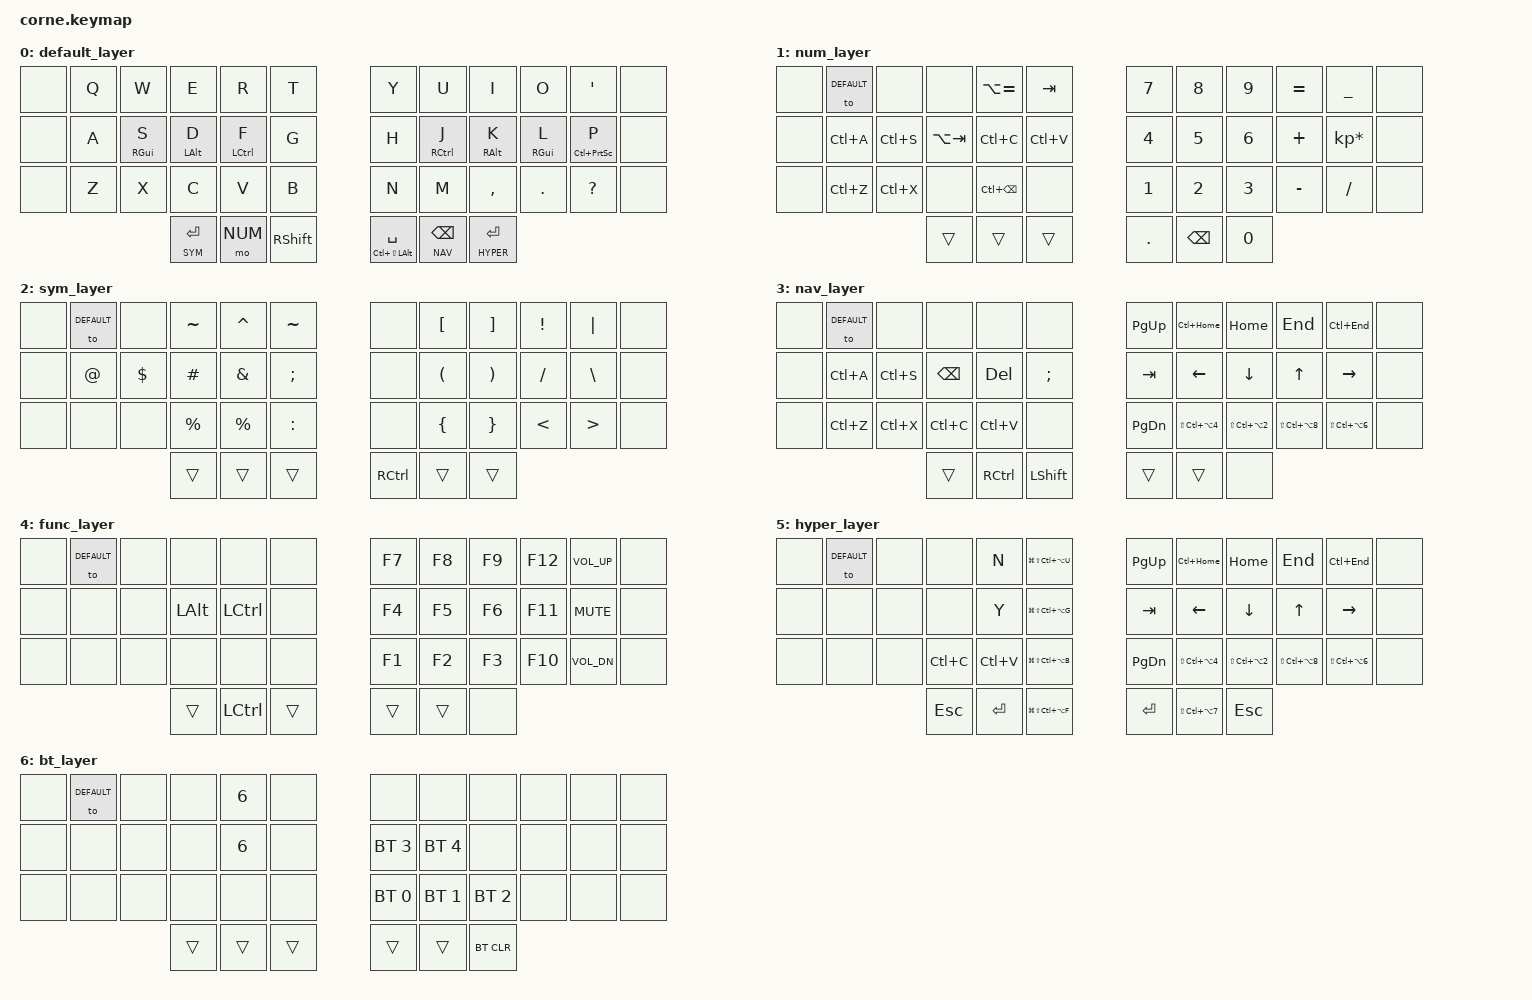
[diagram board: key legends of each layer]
/*
 * Copyright (c) 2020 The ZMK Contributors
 *
 * SPDX-License-Identifier: MIT
 */

// Last update 2025.01.21_1946

//-----------------------------------------------------------------------------------------
// Meh = Ctrl + Shift + Alt
// Windows Meh = Shift + Control + Windows
// Hyper = Shift + Control + Alt + Windows
//-----------------------------------------------------------------------------------------


// ------------------------------------------------------------------------------------------------------------------------------------------------------------------
// wish list
// ------------------------------------------------------------------------------------------------------------------------------------------------------------------
// window switcher via meh key space bar - Alt Tab but need to hold atl?
// add more hyper keys to layer
// &hyper {
//     bindings = <&kp LC(LS(LA(LGUI(SPACE))))>;
// };
// 
// is there a way to define hyper vs having to do all keys like I am now
//

#include <behaviors.dtsi>
#include <dt-bindings/zmk/keys.h>
#include <dt-bindings/zmk/bt.h>

// ------------------------------------------------------------------------------------------------------------------------------------------------------------------
// LAYERS
// ------------------------------------------------------------------------------------------------------------------------------------------------------------------
#define DEFAULT  0
#define NUM      1
#define SYM      2
#define NAV      3
#define FUNC     4
#define HYPER    5
#define BT       6

// ------------------------------------------------------------------------------------------------------------------------------------------------------------------
// Variables
// ------------------------------------------------------------------------------------------------------------------------------------------------------------------
#define COMBO_TIMEOUT 75 

// ------------------------------------------------------------------------------------------------------------------------------------------------------------------
// Mods
// ------------------------------------------------------------------------------------------------------------------------------------------------------------------
/ {
    behaviors {
//hm is homerow modifiers
        hm: homerow_mods {
          compatible = "zmk,behavior-hold-tap";
          label = "HOMEROW_MODS";
          #binding-cells = <2>;
          tapping-term-ms = <500>;
          quick-tap-ms = <0>;
          flavor = "tap-preferred";
          bindings = <&kp>, <&kp>;
        };

//htl momentary layer on hold
    htl: tap_dance_layer {
        compatible = "zmk,behavior-hold-tap";
        label = "HOMEROW_LAYERS_R";
        #binding-cells = <2>;
        tapping-term-ms = <220>;
        quick-tap-ms = <250>;
        flavor = "tap-preferred";
        bindings = <&mo>, <&kp>;
    };

    gqt: global-quick-tap {
        compatible = "zmk,behavior-hold-tap";
        label = "GLOBAL_QUICK_TAP";
        #binding-cells = <2>;
        flavor = "tap-preferred";
        tapping-term-ms = <200>;
        quick-tap-ms = <125>;
        global-quick-tap;
        bindings = <&kp>, <&kp>;
    };

// Hold-Tap for 200mm = 0.2 Sec 
    ht2: hold-tap-200 {
        compatible = "zmk,behavior-hold-tap";
        label = "GLOBAL_QUICK_TAP";
        #binding-cells = <2>;
        flavor = "tap-preferred";
        tapping-term-ms = <200>;
        quick-tap-ms = <125>;
        global-quick-tap;
        bindings = <&kp>, <&kp>;
    };

// Hold-Tap for 300mm = 0.3 Sec 
    ht3: hold-tap-300 {
        compatible = "zmk,behavior-hold-tap";
        label = "GLOBAL_QUICK_TAP";
        #binding-cells = <2>;
        flavor = "tap-preferred";
        tapping-term-ms = <300>;
        quick-tap-ms = <125>;
        global-quick-tap;
        bindings = <&kp>, <&kp>;
    };

// Hold-Tap for 500mm = 0.5 Sec 
    ht5: hold-tap-500 {
        compatible = "zmk,behavior-hold-tap";
        label = "GLOBAL_QUICK_TAP";
        #binding-cells = <2>;
        flavor = "tap-preferred";
        tapping-term-ms = <500>;
        quick-tap-ms = <125>;
        global-quick-tap;
        bindings = <&kp>, <&kp>;
    };

// Hold-Tap for 1000mm = 1.0 Sec 
    ht10: hold-tap-1000 {
        compatible = "zmk,behavior-hold-tap";
        label = "GLOBAL_QUICK_TAP";
        #binding-cells = <2>;
        flavor = "tap-preferred";
        tapping-term-ms = <1000>;
        quick-tap-ms = <125>;
        global-quick-tap;
        bindings = <&kp>, <&kp>;
    };

// Hold-Tap for 1500mm = 1.5 Sec 
    ht15: hold-tap-1500 {
        compatible = "zmk,behavior-hold-tap";
        label = "GLOBAL_QUICK_TAP";
        #binding-cells = <2>;
        flavor = "tap-preferred";
        tapping-term-ms = <1500>;
        quick-tap-ms = <125>;
        global-quick-tap;
        bindings = <&kp>, <&kp>;
    };

// Hold-Tap for 2000mm = 2.0 Sec 
    ht20: hold-tap-2000 {
        compatible = "zmk,behavior-hold-tap";
        label = "GLOBAL_QUICK_TAP";
        #binding-cells = <2>;
        flavor = "tap-preferred";
        tapping-term-ms = <2000>;
        quick-tap-ms = <125>;
        global-quick-tap;
        bindings = <&kp>, <&kp>;
    };

    td0: tap_dance_0 {
        compatible = "zmk,behavior-tap-dance";
        label = "TAP_DANCE_0";
        #binding-cells = <0>;
        tapping-term-ms = <200>;
        bindings = <&kp N1>, <&kp N2>, <&kp N3>;
        };

    tdn: tap_dance_num {
        compatible = "zmk,behavior-tap-dance";
        label = "TAP_DANCE_0";
        #binding-cells = <0>;
        tapping-term-ms = <200>;
        bindings = <&mo NUM>, <&to NUM>;
        };

    };

};

// ------------------------------------------------------------------------------------------------------------------------------------------------------------------
// Combos
// ------------------------------------------------------------------------------------------------------------------------------------------------------------------
/ {
  combos {
    compatible = "zmk,combos";

// Move to Base Layer
    combo_to_base {
        timeout-ms = <COMBO_TIMEOUT>;
        key-positions = <1 10>;  // Top left and right corners
        bindings = <&to DEFAULT>;
        layers = <1 2 3 4 5 6>;  // All non-base layers
    };

// Esc Button on Right Keyboard
    combo_esc_right {
      timeout-ms = <COMBO_TIMEOUT>;
      key-positions = <6 7 8>;  // Keys: Y U I
      bindings = <&kp ESC>;  // Esc Key
      layers = <0>;
    };

// Esc Button on Left Keyboard
    combo_esc_left {
      timeout-ms = <COMBO_TIMEOUT>;
      key-positions = <3 4 5>;  // Keys: E R T
      bindings = <&kp ESC>;  // Esc Key
      layers = <0>;
    };

// Function Layer
    combo_func {
      timeout-ms = <COMBO_TIMEOUT>;
      key-positions = <2 3 4>;  // Keys: W E R
      bindings = <&mo FUNC>;  // Funtion Layer
    };

// Delete Button on Right Keyboard
    combo_del_right {
      timeout-ms = <COMBO_TIMEOUT>;
      key-positions = <7 8>;  // Keys: U I
      bindings = <&kp DEL>;  // Delete Key
      layers = <0>;
    };

// Delete Button on Left Keyboard
    combo_del_left {
      timeout-ms = <COMBO_TIMEOUT>;
      key-positions = <3 4>;  // Keys: E R
      bindings = <&kp DEL>;  // Delete Key
      layers = <0>;
    };

// Word Delete Backspace
    combo_CTRLdel {
        timeout-ms = <COMBO_TIMEOUT>;
        key-positions = <37 40>;  // Keys: Both Middle Thumbs
        bindings = <&kp LC(BSPC)>;  // 
        layers = <0>;
    };

// Switch to Number Layer
    combo_Layer_Num {
         timeout-ms = <COMBO_TIMEOUT>;
         key-positions = <1 30>;  // Keys: Q N
         bindings = <&to NUM>;  // 
         layers = <0>;
     };

// Switch to Symbol Layer
    combo_Layer_Sym {
        timeout-ms = <COMBO_TIMEOUT>;
        key-positions = <1 31>;  // Keys: Q M
        bindings = <&to SYM>;  // 
        layers = <0>;
    };

// Switch to Navigation Layer
    combo_Layer_Nav {
        timeout-ms = <COMBO_TIMEOUT>;
        key-positions = <1 32>;  // Keys: Q ,
        bindings = <&to NAV>;  // 
        layers = <0>;
    };

// Switch to Function Layer
    combo_Layer_Func {
        timeout-ms = <COMBO_TIMEOUT>;
        key-positions = <1 18>;  // Keys: Q H
        bindings = <&to FUNC>;  // 
        layers = <0>;
    };

// Switch to Hyper Layer
    combo_Layer_Hyper {
        timeout-ms = <COMBO_TIMEOUT>;
        key-positions = <1 19>;  // Keys: Q J
        bindings = <&to HYPER>;  // 
        layers = <0>;
    };

// Switch to Bluetooth Layer
    combo_Layer_BT {
        timeout-ms = <COMBO_TIMEOUT>;
        key-positions = <5 6>;  // Keys: T Y
        bindings = <&to BT>;  // 
        layers = <0>;
    };

// Mouse click left
    combo_mouse_l {
        timeout-ms = <COMBO_TIMEOUT>;
        key-positions = <31 32>;  // Keys: M ,
        bindings = <&kp LS(LC(LA(N7)))>;  // 
        layers = <3 5>;
    };

// Mouse click right
    combo_mouse_r {
        timeout-ms = <COMBO_TIMEOUT>;
        key-positions = <33 34>;  // Keys: . ?
        bindings = <&kp LS(LC(LA(N9)))>;  // 
        layers = <3 5>;
    };

// ------------------------------------------------------------------------------------------------------------------------------------------------------------------
// Combos - Window Organizer
// ------------------------------------------------------------------------------------------------------------------------------------------------------------------
combo_win_left {
    timeout-ms = <COMBO_TIMEOUT>;
    key-positions = <1 13 25>;  
    bindings = <&kp LG(LEFT)>;
    };

combo_win_right {
    timeout-ms = <COMBO_TIMEOUT>;
    key-positions = <10 22 34>;  
    bindings = <&kp LG(RIGHT)>;
    };

  };
};

// ------------------------------------------------------------------------------------------------------------------------------------------------------------------
// Layer
// ------------------------------------------------------------------------------------------------------------------------------------------------------------------

/ {
        keymap {
                compatible = "zmk,keymap";

// ------------------------------------------------------------------------------------------------------------------------------------------------------------------
                default_layer {
                        bindings = <
//      ╭─────────────┬─────────────┬─────────────┬─────────────┬─────────────╮                                   ╭─────────────┬─────────────┬─────────────┬─────────────┬─────────────╮
//      |      Q      |     W       |      E      |      R      |     T       |                                   |      Y      |     U       |     I       |      O      |     '       | 
&none        &kp Q        &kp W         &kp E          &kp R         &kp T                                              &kp Y         &kp U        &kp I         &kp O        &kp SQT         &none
//      ├─────────────┼─────────────┼─────────────┼─────────────┼─────────────┤                                   ├─────────────┼─────────────┼─────────────┼─────────────┼─────────────┤
//      |      A      |      S      |      D      |      F      |     G       |                                   |      H      |     J       |     K       |      L      |     P       |  
&none       &kp  A      &hm RGUI  S   &hm LALT D    &hm LCTRL F      &kp G                                             &kp H      &hm RCTRL J    &hm RALT K    &hm RGUI L  &ht5 LC(PSCRN) P   &none
//      ├─────────────┼─────────────┼─────────────┼─────────────┼─────────────┤                                   ├─────────────┼─────────────┼─────────────┼─────────────┼─────────────┤
//      |      Z      |      X      |      C      |      V      |      B      |                                   |      N      |     M       |     ,       |       .     |      ?      | 
&none       &kp   Z        &kp   X      &kp   C       &kp   V        &kp B                                            &kp N         &kp M       &kp COMMA       &kp DOT     &kp QMARK        &none
//      ╰─────────────┴─────────────┴─────────────┼─────────────┼─────────────┬─────────────╮       ╭─────────────┼─────────────┼─────────────┼─────────────┴─────────────┴─────────────╯
//                                                |    Enter    |     Num     |    Shift    |       |    Space    |   Bksp NAV  |  Enter Nav  |
                                                   &htl SYM RET    &mo NUM     &kp RSHIFT    &hm LC(LS(LALT)) SPACE &htl NAV BSPC &htl HYPER RET
//                                                ╰─────────────┴─────────────┴─────────────╯       ╰─────────────┴─────────────┴─────────────╯
                        >;
                };

// ------------------------------------------------------------------------------------------------------------------------------------------------------------------
                num_layer {
                        bindings = <
//      ╭─────────────┬─────────────┬─────────────┬─────────────┬─────────────╮                              ╭─────────────┬─────────────┬─────────────┬─────────────┬─────────────╮
//      |     DEF     |             |             |   Alt =     |     Tab     |                              |      6      |     7       |     8       |      9      |     10      |      
&none     &to DEFAULT      &none        &none     &kp LA(EQUAL)      &kp TAB                                       &kp N7       &kp N8        &kp N9        &kp EQUAL    &kp UNDER         &none
//      ├─────────────┼─────────────┼─────────────┼─────────────┼─────────────┤                              ├─────────────┼─────────────┼─────────────┼─────────────┼─────────────┤
//      |             |             |             |             |             |                              |      4      |     5       |     6       |      21     |     22      |      
&none      &kp LC(A)     &kp LC(S)   &kp LA(TAB)     &kp LC(C)      &kp LC(V)                                      &kp N4       &kp N5        &kp N6        &kp PLUS     &kp KP_MULTIPLY   &none
//      ├─────────────┼─────────────┼─────────────┼─────────────┼─────────────┤                              ├─────────────┼─────────────┼─────────────┼─────────────┼─────────────┤
//      |             |             |             |             |             |                              |      1      |     2       |     3       |      33     |     34      |      
&none      &kp LC(Z)     &kp LC(X)       &none     &kp LC(BSPC)     &none                                     &kp N1       &kp N2        &kp N3       &kp MINUS     &kp SLASH         &none
//      ╰─────────────┴─────────────┴─────────────┼─────────────┼─────────────┬─────────────╮  ╭─────────────┼─────────────┼─────────────┼─────────────┴─────────────┴─────────────╯
//                                                |             |             |             |  |             |             |             |
                                                     &trans        &trans       &trans             &kp DOT      &kp  BSPC      &kp N0
//                                                ╰─────────────┴─────────────┴─────────────╯  ╰─────────────┴─────────────┴─────────────╯

                        >;
                };

// ------------------------------------------------------------------------------------------------------------------------------------------------------------------
                sym_layer {
                        bindings = <              
//      ╭─────────────┬─────────────┬─────────────┬─────────────┬─────────────╮                              ╭─────────────┬─────────────┬─────────────┬─────────────┬─────────────╮
//      |     DEF     |             |      ~      |      ^      |       ~     |                              |             |     [       |     ]       |     !       |      |      |   
&none     &to DEFAULT     &none         &kp TILDE     &kp CARET    &kp TILDE                                       &none       &kp LBKT     &kp RBKT       &kp EXCL        &kp PIPE     &none
//      ├─────────────┼─────────────┼─────────────┼─────────────┼─────────────┤                              ├─────────────┼─────────────┼─────────────┼─────────────┼─────────────┤
//      |     @       |      $      |      #      |       &     |      ;      |                              |             |     (       |     )       |      /      |     \       | 
&none       &kp AT       &kp DLLR        &kp HASH     &kp AMPS   &kp SEMICOLON                                     &none        &kp LPAR     &kp RPAR      &kp FSLH     &kp BSLH        &none
//      ├─────────────┼─────────────┼─────────────┼─────────────┼─────────────┤                              ├─────────────┼─────────────┼─────────────┼─────────────┼─────────────┤
//      |             |             |     %       |      %      |       :     |                              |             |     {       |     }       |      <      |     >       |     
&none       &none         &none        &kp PRCNT      &kp PRCNT    &kp COLON                                       &none      &kp LBRC     &kp RBRC     &kp LESS_THAN  &kp GREATER_THAN  &none
//      ╰─────────────┴─────────────┴─────────────┼─────────────┼─────────────┬─────────────╮  ╭─────────────┼─────────────┼─────────────┼─────────────┴─────────────┴─────────────╯
//                                                |             |             |             |  |             |             |             |
                                                       &trans        &trans        &trans         &kp RCTRL        &trans       &trans 
//                                                ╰─────────────┴─────────────┴─────────────╯  ╰─────────────┴─────────────┴─────────────╯
                        >;
                };

// ------------------------------------------------------------------------------------------------------------------------------------------------------------------
                nav_layer {
                        bindings = <
//      ╭─────────────┬─────────────┬─────────────┬─────────────┬─────────────╮                              ╭─────────────┬─────────────┬─────────────┬─────────────┬─────────────╮
//      |     DEF     |             |             |             |     //      |                              |    Pg Up    |  Ctrl Home  |   Home      |    End      |   Ctrl End  |   
&none     &to DEFAULT      &none         &none         &none        &none                                       &kp PG_UP   &kp LC(HOME)   &kp HOME        &kp END     &kp LC(END)     &none
//      ├─────────────┼─────────────┼─────────────┼─────────────┼─────────────┤                              ├─────────────┼─────────────┼─────────────┼─────────────┼─────────────┤
//      |             |             |             |             |      ;      |                              |     Tab     |    Left     |    Down     |     Up      |    Right    | 
&none      &kp LC(A)     &kp LC(S)      &kp BSPC      &kp DEL   &kp SEMICOLON                                    &kp TAB      &kp LEFT      &kp DOWN       &kp UP        &kp RIGHT     &none         
//      ├─────────────┼─────────────┼─────────────┼─────────────┼─────────────┤                              ├─────────────┼─────────────┼─────────────┼─────────────┼─────────────┤
//      |             |             |             |             |             |                              |    Pg Dn    |    Left     |    Down     |     Up      |    Right    |
&none      &kp LC(Z)     &kp LC(X)     &kp LC(C)     &kp LC(V)       &none                                   &kp PG_DN   &kp LS(LC(LA(N4))) &kp LS(LC(LA(N2))) &kp LS(LC(LA(N8))) &kp LS(LC(LA(N6)))  &none
//      ╰─────────────┴─────────────┴─────────────┼─────────────┼─────────────┬─────────────╮  ╭─────────────┼─────────────┼─────────────┼─────────────┴─────────────┴─────────────╯
//                                                |             |             |             |  |             |             |             |
                                                     &trans        &kp RCTRL     &kp LSHIFT         &trans        &trans        &none
//                                                ╰─────────────┴─────────────┴─────────────╯  ╰─────────────┴─────────────┴─────────────╯
                        >;
                };

// ------------------------------------------------------------------------------------------------------------------------------------------------------------------
                func_layer {
                        bindings = <
//      ╭─────────────┬─────────────┬─────────────┬─────────────┬─────────────╮                              ╭─────────────┬─────────────┬─────────────┬─────────────┬─────────────╮
//      |     DEF     |             |             |             |             |                              |             |             |             |             |   Vol Up    |   
&none     &to DEFAULT      &none         &none         &none        &none                                        &kp F7        &kp F8         &kp F9         &kp F12  &kp C_VOL_UP        &none
//      ├─────────────┼─────────────┼─────────────┼─────────────┼─────────────┤                              ├─────────────┼─────────────┼─────────────┼─────────────┼─────────────┤
//      |             |             |             |             |             |                              |    F4       |     F5      |     ?       |      ?      |     Mute    | 
&none        &none         &none       &kp LALT     &kp LCTRL       &none                                        &kp F4        &kp F5        &kp F6         &kp F11     &kp C_MUTE        &none 
//      ├─────────────┼─────────────┼─────────────┼─────────────┼─────────────┤                              ├─────────────┼─────────────┼─────────────┼─────────────┼─────────────┤
//      |             |             |             |             |             |                              |    F1       |    F2       |      F3     |      ?      |  Vol Down   |
&none        &none         &none         &none         &none        &none                                        &kp F1       &kp F2         &kp F3         &kp F10    &kp C_VOL_DN       &none
//      ╰─────────────┴─────────────┴─────────────┼─────────────┼─────────────┬─────────────╮  ╭─────────────┼─────────────┼─────────────┼─────────────┴─────────────┴─────────────╯
//                                                |             |             |             |  |             |             |             |
                                                       &trans      &kp LCTRL       &trans           &trans       &trans         &none
//                                                ╰─────────────┴─────────────┴─────────────╯  ╰─────────────┴─────────────┴─────────────╯
                        >;
                };
// ------------------------------------------------------------------------------------------------------------------------------------------------------------------

                hyper_layer {
                        bindings = <
//      ╭─────────────┬─────────────┬─────────────┬─────────────┬─────────────╮                              ╭─────────────┬─────────────┬─────────────┬─────────────┬─────────────╮
//      |     DEF     |             |             |             |    Export   |                              |    Pg Up    |  Ctrl Home  |   Home      |    End      |   Ctrl End  |   
&none     &to DEFAULT      &none         &none        &kp N    &kp LG(LS(LC(LA(U))))                          &kp PG_UP   &kp LC(HOME)   &kp HOME        &kp END     &kp LC(END)                       &none
//      ├─────────────┼─────────────┼─────────────┼─────────────┼─────────────┤                              ├─────────────┼─────────────┼─────────────┼─────────────┼─────────────┤
//      |             |             |             |             |    RTUx3    |                              |     Tab     |    Left     |    Down     |     Up      |    Right    | 
&none        &none         &none         &none        &kp Y    &kp LG(LS(LC(LA(G))))                          &kp TAB      &kp LEFT      &kp DOWN       &kp UP        &kp RIGHT                        &none
//      ├─────────────┼─────────────┼─────────────┼─────────────┼─────────────┤                              ├─────────────┼─────────────┼─────────────┼─────────────┼─────────────┤
//      |             |             |             |             |   Eligable  |                              |    Pg Dn    |    Left     |    Down     |     Up      |    Right    |
&none        &none         &none       &kp LC(C)      &kp LC(V)  &kp LG(LS(LC(LA(B))))                        &kp PG_DN   &kp LS(LC(LA(N4))) &kp LS(LC(LA(N2))) &kp LS(LC(LA(N8))) &kp LS(LC(LA(N6)))  &none
//      ╰─────────────┴─────────────┴─────────────┼─────────────┼─────────────┬─────────────╮  ╭─────────────┼─────────────┼─────────────┼─────────────┴─────────────┴─────────────╯
//                                                |             |             |    Macro    |  |             |   L Mouse   |             |
                                                     &kp ESC       &kp RET   &kp LG(LS(LC(LA(F)))) &kp RET  &kp LS(LC(LA(N7)))   &kp ESC
//                                                ╰─────────────┴─────────────┴─────────────╯  ╰─────────────┴─────────────┴─────────────╯
                        >;
                };
// ------------------------------------------------------------------------------------------------------------------------------------------------------------------

                bt_layer {
                        bindings = <
//      ╭─────────────┬─────────────┬─────────────┬─────────────┬─────────────╮                              ╭─────────────┬─────────────┬─────────────┬─────────────┬─────────────╮
//      |     DEF     |             |             |             |             |                              |             |             |             |             |             |   
&none     &to DEFAULT      &none         &none         &kp N6        &none                                         &none        &none         &none         &none         &none           &none
//      ├─────────────┼─────────────┼─────────────┼─────────────┼─────────────┤                              ├─────────────┼─────────────┼─────────────┼─────────────┼─────────────┤
//      |             |             |             |             |             |                              |    BT4      |     BT5     |     ?       |      ?      |     ?       | 
&none        &none         &none         &none         &kp N6        &none                                     &bt BT_SEL 3   &bt BT_SEL 4     &none        &none         &none           &none 
//      ├─────────────┼─────────────┼─────────────┼─────────────┼─────────────┤                              ├─────────────┼─────────────┼─────────────┼─────────────┼─────────────┤
//      |             |             |             |             |             |                              |    BT1      |   BT2       |     BT3     |      ?      |     ?       |
&none        &none         &none         &none         &none         &none                                     &bt BT_SEL 0   &bt BT_SEL 1  &bt BT_SEL 2    &none         &none           &none
//      ╰─────────────┴─────────────┴─────────────┼─────────────┼─────────────┬─────────────╮  ╭─────────────┼─────────────┼─────────────┼─────────────┴─────────────┴─────────────╯
//                                                |             |             |             |  |             |             |   BTCLR     |
                                                       &trans        &trans       &trans            &trans        &trans     &bt BT_CLR
//                                                ╰─────────────┴─────────────┴─────────────╯  ╰─────────────┴─────────────┴─────────────╯
//
// BT 1 = PC
// BT 2 = Laptop
// BT 3 = Surface
// BT 4 = iPad Pro
// BT 5 = s21 Phone
//
                        >;
                };
// ------------------------------------------------------------------------------------------------------------------------------------------------------------------

        };
};

// ------------------------------------------------------------------------------------------------------------------------------------------------------------------
// Template and key count
// ------------------------------------------------------------------------------------------------------------------------------------------------------------------
//      ╭─────────────┬─────────────┬─────────────┬─────────────┬─────────────╮                              ╭─────────────┬─────────────┬─────────────┬─────────────┬─────────────╮
//  0   |      1      |    2        |      3      |      4      |     5       |                              |      6      |     7       |     8       |      9      |     10      |   11
//&none      &none         &none         &none         &none        &none                                         &none        &none         &none         &none         &none         &none
//      ├─────────────┼─────────────┼─────────────┼─────────────┼─────────────┤                              ├─────────────┼─────────────┼─────────────┼─────────────┼─────────────┤
//  12  |      13     |    14       |      15     |      16     |     17      |                              |      18     |     19      |     20      |      21     |     22      |    23
//&none      &none         &none         &none         &none        &none                                         &none        &none        &none         &none          &none         &none
//      ├─────────────┼─────────────┼─────────────┼─────────────┼─────────────┤                              ├─────────────┼─────────────┼─────────────┼─────────────┼─────────────┤
//  24  |      25     |      26     |      27     |      28     |     29      |                              |      30     |     31      |     32      |      33     |     34      |   35
//&none      &none         &none         &none         &none        &none                                         &none        &none         &none         &none         &none         &none
//      ╰─────────────┴─────────────┴─────────────┼─────────────┼─────────────┬─────────────╮  ╭─────────────┼─────────────┼─────────────┼─────────────┴─────────────┴─────────────╯
//                                                |      36     |     37      |     38      |  |     39      |      40     |     41      |
//                                                    &trans         &trans       &trans            &trans        &trans        &trans
//                                                ╰─────────────┴─────────────┴─────────────╯  ╰─────────────┴─────────────┴─────────────╯
